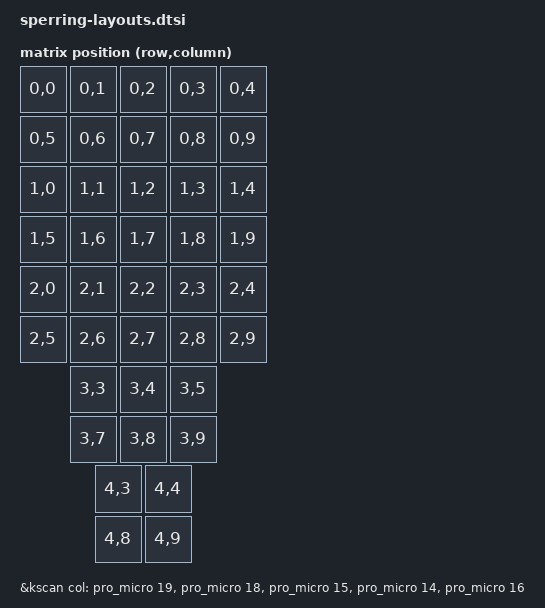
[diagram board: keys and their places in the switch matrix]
// See https://zmk.dev/docs/development/hardware-integration/physical-layouts
// for how to configure this.

#include <physical_layouts.dtsi>

/ {
    default_layout: default_layout {
        compatible = "zmk,physical-layout";
        display-name = "Default Layout";
        transform = <&default_transform>;
        kscan = <&kscan>;

        // Edit this to define the positions and sizes of the keys, or remove it
        // if your keyboard will not support ZMK Studio.
        // https://zmk.dev/docs/development/hardware-integration/physical-layouts#optional-keys-property
        keys  //                     w   h    x    y     rot    rx    ry
            = <&key_physical_attrs 100 100    0    0       0     0     0>
            , <&key_physical_attrs 100 100  100    0       0     0     0>
            , <&key_physical_attrs 100 100    0  100       0     0     0>
            , <&key_physical_attrs 100 100  100  100       0     0     0>
            ;
    };

        rows = <5>;
        columns = <10>;

        map = <
            /* Row 0 */ RC(0,0) RC(0,1) RC(0,2) RC(0,3) RC(0,4)
                       RC(0,5) RC(0,6) RC(0,7) RC(0,8) RC(0,9)

            /* Row 1 */ RC(1,0) RC(1,1) RC(1,2) RC(1,3) RC(1,4)
                       RC(1,5) RC(1,6) RC(1,7) RC(1,8) RC(1,9)

            /* Row 2 */ RC(2,0) RC(2,1) RC(2,2) RC(2,3) RC(2,4)
                       RC(2,5) RC(2,6) RC(2,7) RC(2,8) RC(2,9)

            /* Row 3: 3 keys per half */
                       RC(3,3) RC(3,4) RC(3,5)
                       RC(3,7) RC(3,8) RC(3,9)

            /* Row 4: 2 keys per half */
                       RC(4,3) RC(4,4)
                       RC(4,8) RC(4,9)
        >;

        &kscan {
    col-gpios =
        <&pro_micro 19 GPIO_ACTIVE_HIGH>,
        <&pro_micro 18 GPIO_ACTIVE_HIGH>,
        <&pro_micro 15 GPIO_ACTIVE_HIGH>,
        <&pro_micro 14 GPIO_ACTIVE_HIGH>,
        <&pro_micro 16 GPIO_ACTIVE_HIGH>;
};

    
};
